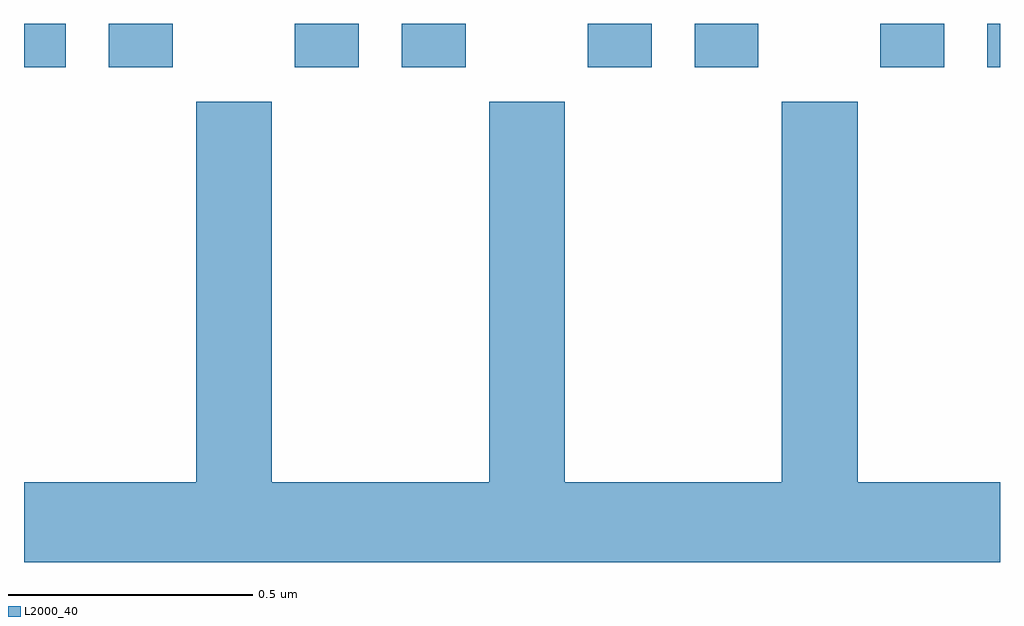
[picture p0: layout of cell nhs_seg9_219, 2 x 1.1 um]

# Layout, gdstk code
import gdstk
lib = gdstk.Library(unit=1e-6, precision=1e-09)
def R(c, l, rs):  # rectangles x0, y0, x1, y1
    for r in rs: c.add(gdstk.rectangle(r[:2], r[2:], *l))
def P(c, l, *ps):  # polygons
    for p in ps: c.add(gdstk.Polygon(p, *l))
L2000_40 = (2000, 40)

nhs_seg9_219 = lib.new_cell('nhs_seg9_219')
R(nhs_seg9_219, L2000_40, [(113,1221.411,113.086,1221.5), (113.174,1221.411,113.305,1221.5), (113.555,1221.411,113.686,1221.5), (113.774,1221.411,113.905,1221.5), (114.155,1221.411,114.286,1221.5), (114.374,1221.411,114.505,1221.5), (114.755,1221.411,114.886,1221.5), (114.974,1221.411,115,1221.5)])
P(nhs_seg9_219, L2000_40, [(115,1220.56),(114.708,1220.56),(114.708,1221.34),(114.553,1221.34),(114.553,1220.56),(114.108,1220.56),(114.108,1221.34),(113.953,1221.34),(113.953,1220.56),(113.508,1220.56),(113.508,1221.34),(113.353,1221.34),(113.353,1220.56),(113,1220.56),(113,1220.396),(115,1220.396)])

lib.write_gds('nhs_seg9_219.gds')
